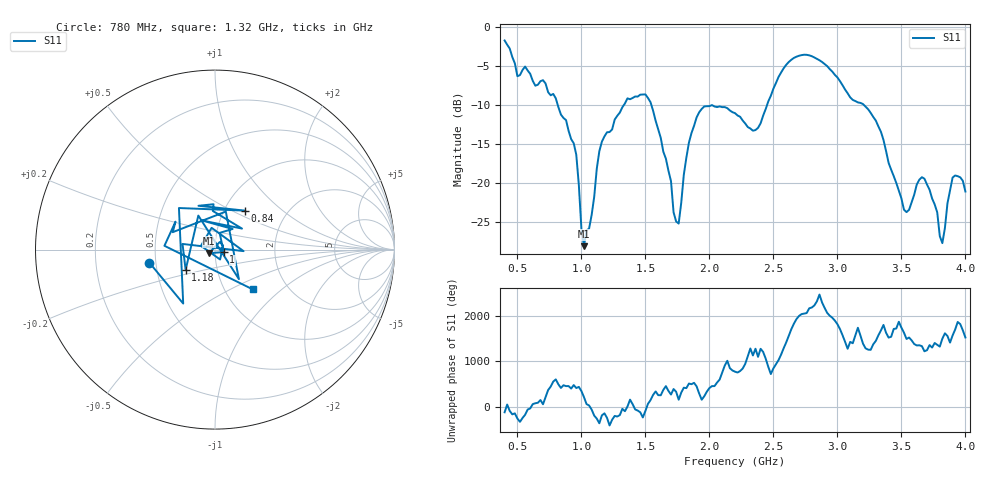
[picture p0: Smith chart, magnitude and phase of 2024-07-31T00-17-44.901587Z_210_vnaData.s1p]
!Created with skrf (http://scikit-rf.org).
# Hz S RI R 50.0
!freq ReS11 ImS11
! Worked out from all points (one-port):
!   181 points, 400 MHz to 4 GHz, reference 50 ohm
!   lowest |S11| = -28.2 dB at 1.02 GHz (marker M1), VSWR 1.08, Z = 46.7 - j1.87 ohm
!   |S11| at or under -10 dB: 815.2 MHz to 1.332 GHz (516.5 MHz wide, 48.1 % of centre); 1.547 GHz to 2.45 GHz (903.8 MHz wide, 45.2 % of centre); 3.208 GHz to end of sweep
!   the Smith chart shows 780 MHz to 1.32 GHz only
!   S11 on the Smith chart (normalised r, x): 780 MHz: 0.46, -0.08; 840 MHz: 1.25, +0.59; 1 GHz: 1.10, -0.03; 1.18 GHz: 0.70, -0.17; 1.32 GHz: 1.35, -0.66
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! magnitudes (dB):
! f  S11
! 400 MHz  -1.7
! 500 MHz  -6.3
! 560 MHz  -5.0
! 780 MHz  -8.6
! 840 MHz  -11.2
! 860 MHz  -11.7
! 960 MHz  -16.4
! 1 GHz  -25.9
! 1.02 GHz  -28.2
! 1.18 GHz  -14.0
! 1.3 GHz  -11.0
! 1.32 GHz  -10.3
! 1.54 GHz  -9.6
! 1.76 GHz  -25.3
! 1.84 GHz  -14.8
! 1.92 GHz  -10.9
! 2.2 GHz  -11.0
! 2.38 GHz  -12.9
! 2.66 GHz  -3.9
! 2.88 GHz  -4.5
! 3.1 GHz  -9.0
! 3.3 GHz  -12.0
! 3.52 GHz  -23.5
! 3.56 GHz  -23.5
! 3.68 GHz  -19.5
! 3.82 GHz  -27.8
! 3.9 GHz  -19.3
! 4 GHz  -21.1
